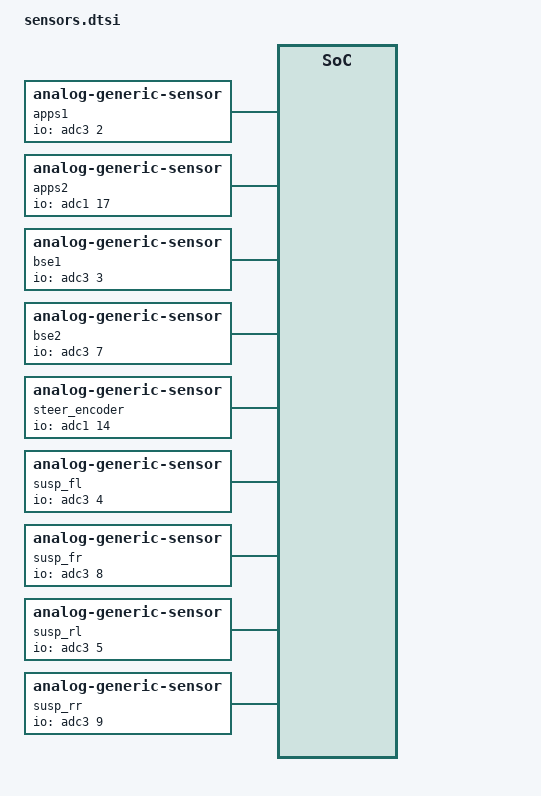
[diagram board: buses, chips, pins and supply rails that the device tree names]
#include <zephyr/dt-bindings/sensor/sensor-channels.h>

/ {
    chosen {
        nturt,apps1 = &apps1;
        nturt,apps2 = &apps2;
        nturt,bse1 = &bse1;
        nturt,bse2 = &bse2;
        nturt,steer_encoder = &steer_encoder;
        nturt,susp-fl = &susp_fl;
        nturt,susp-fr = &susp_fr;
        nturt,susp-rl = &susp_rl;
        nturt,susp-rr = &susp_rr;
    };

    apps1: accel-encoder1 {
        compatible = "analog-generic-sensor";
        io-channels = <&adc3 2>;
        zephyr,channel = <SENSOR_CHAN_ROTATION>;
        min-voltage = <1000>;
        max-voltage = <3000>;
        min-value = <(-60) 0>;
        max-value = <60 0>;
    };

    apps2: accel-encoder2 {
        compatible = "analog-generic-sensor";
        io-channels = <&adc1 17>;
        zephyr,channel = <SENSOR_CHAN_ROTATION>;
        min-voltage = <1000>;
        max-voltage = <3000>;
        min-value = <(-60) 0>;
        max-value = <60 0>;
    };

    bse1: brake-press1 {
        compatible = "analog-generic-sensor";
        io-channels = <&adc3 3>;
        zephyr,channel = <SENSOR_CHAN_PRESS>;
        min-voltage = <600>;
        max-voltage = <3000>;
        min-value = <0 0>;
        max-value = <6894 76>; // 1000 psi (6894 kPa)
        tolerance = <10>;
    };

    bse2: brake-press2 {
        compatible = "analog-generic-sensor";
        io-channels = <&adc3 7>;
        zephyr,channel = <SENSOR_CHAN_PRESS>;
        min-voltage = <600>;
        max-voltage = <3000>;
        min-value = <0 0>;
        max-value = <6894 76>; // 1000 psi (6894 kPa)
        tolerance = <10>;
    };

    steer_encoder: steer-encoder {
        compatible = "analog-generic-sensor";
        io-channels = <&adc1 14>;
        zephyr,channel = <SENSOR_CHAN_ROTATION>;
        min-voltage = <600>;
        max-voltage = <3000>;
        min-value = <(-180) 0>;
        max-value = <180 0>;
    };

    susp_fl: susp_fl {
        compatible = "analog-generic-sensor";
        io-channels = <&adc3 4>;
        zephyr,channel = <SENSOR_CHAN_DISTANCE>;
        min-voltage = <600>;
        max-voltage = <3000>;
        min-value = <0 0>;
        max-value = <10 0>;
    };

    susp_fr: susp_fr {
        compatible = "analog-generic-sensor";
        io-channels = <&adc3 8>;
        zephyr,channel = <SENSOR_CHAN_DISTANCE>;
        min-voltage = <600>;
        max-voltage = <3000>;
        min-value = <0 0>;
        max-value = <10 0>;
    };

    susp_rl: susp_rl {
        compatible = "analog-generic-sensor";
        io-channels = <&adc3 5>;
        zephyr,channel = <SENSOR_CHAN_DISTANCE>;
        min-voltage = <600>;
        max-voltage = <3000>;
        min-value = <0 0>;
        max-value = <10 0>;
    };

    susp_rr: susp_rr {
        compatible = "analog-generic-sensor";
        io-channels = <&adc3 9>;
        zephyr,channel = <SENSOR_CHAN_DISTANCE>;
        min-voltage = <600>;
        max-voltage = <3000>;
        min-value = <0 0>;
        max-value = <10 0>;
    };
};
